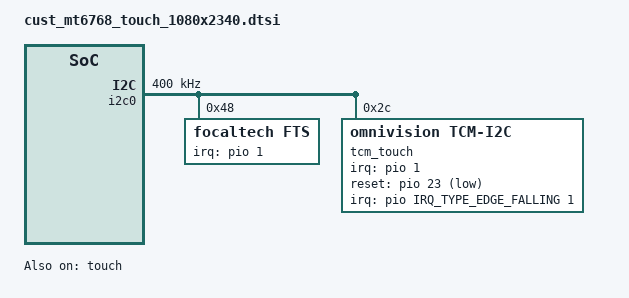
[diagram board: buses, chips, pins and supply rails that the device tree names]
// SPDX-License-Identifier: GPL-2.0+
/*
 * Copyright (c) 2019 MediaTek Inc.
 *
 */

/* TOUCH start */
&i2c0 {
	clock-frequency = <400000>;

	focaltech@48 {
		compatible = "focaltech,fts";
		reg = <0x48>;
		interrupt-parent = <&pio>;
		interrupts = <1 IRQ_TYPE_EDGE_FALLING 1 0>;
		status = "okay";
	};
	
	tcm_touch@2c {
		compatible = "omnivision,tcm-i2c";
		reg = <0x2c>;
		interrupt-parent = <&pio>;
		interrupts = < IRQ_TYPE_EDGE_FALLING 1 0>;
	
		pinctrl-names = "pmx_ts_active","pmx_ts_suspend";
		pinctrl-0 = <&ctp_ts_int_active &ctp_ts_reset_active>;
		pinctrl-1 = <&ctp_ts_int_suspend &ctp_ts_reset_suspend>;
		
		omnivision,irq-gpio = <&pio 1 0x2008>; /* IRQF_ONESHOT | IRQF_TRIGGER_LOW */
		omnivision,irq-on-state = <0>;
		omnivision,reset-gpio = <&pio 23 0x01>; 
		omnivision,reset-on-state = <0>;
		omnivision,reset-active-ms = <20>;
		omnivision,reset-delay-ms = <200>;
		omnivision,power-delay-ms = <200>;
		omnivision,byte-delay-us = <0>;
		omnivision,block-delay-us = <0>;
		omnivision,ubl-max-freq = <3000000>;
		omnivision,ubl-byte-delay-us = <20>;
	
	};

};



&touch {
	tpd-resolution = <1080 2340>;
	lcm-resolution = <1080 2340>;
	tpd-cfg-version = "config19";
	tpd-max-touch-num = <5>;
	interrupt-parent = <&pio>;
	interrupts = <1 IRQ_TYPE_EDGE_FALLING 1 0>;
	goodix,eint-gpio = <&pio 1 0x0>;
	goodix,reset-gpio = <&pio 23 0x0>;
	vtouch-supply = <&mt_pmic_vldo28_ldo_reg>;

	/* Rotate cord when open blew lables */
	/*goodix,x2x;*/
	/*goodix,y2y;*/
	gpio_tp_int = <&pio 1 0x0>;
	gpio_tp_rst = <&pio 23 0x0>;

	tpd-filter-enable = <0>;
	tpd-filter-pixel-density = <168>;
	tpd-filter-custom-prameters = <0 0 0 0 0 0 0 0 0 0 0 0>;
	tpd-filter-custom-speed = <0 0 0>;
	status = "okay";
};

&pio {
	ctp_pins_default: eintdefault {
	};
	ctp_ts_int_active: int_active {
		pins_cmd_dat {
			pinmux = <PINMUX_GPIO1__FUNC_GPIO1>;
			input-enable;
			bias-pill-up = <MTK_PUPD_SET_R1R0_11>;
		};
	};
	ctp_ts_reset_active: reset_active {
		pins_cmd_dat {
			pinmux = <PINMUX_GPIO23__FUNC_GPIO23>;
			slew-rate = <1>;
			output-high;
		};
	};
	ctp_ts_int_suspend: int_suspend {
		pins_cmd_dat {
			pinmux = <PINMUX_GPIO1__FUNC_GPIO1>;
			slew-rate = <1>;
			output-low;
		};
	};
	ctp_ts_reset_suspend: reset_suspend {
		pins_cmd_dat {
			pinmux = <PINMUX_GPIO23__FUNC_GPIO23>;
			slew-rate = <1>;
			output-low;
		};
	};
	ctp_ts_i2c_mode: i2cmode_default {
		pins_cmd_dat {
			pinmux = <PINMUX_GPIO82__FUNC_SDA0>,
				<PINMUX_GPIO83__FUNC_SCL0>;
		};
	};
	ctp_ts_int_as_gpio: int_high {
		pins_cmd_dat {
			pinmux = <PINMUX_GPIO1__FUNC_GPIO1>;
			slew-rate = <1>;
			output-high;
		};
	};
};
/* TOUCH end */
